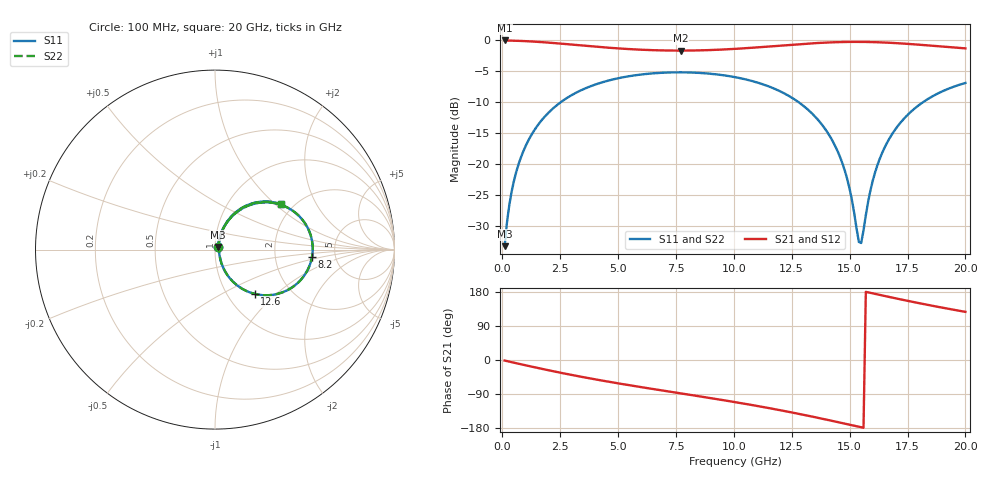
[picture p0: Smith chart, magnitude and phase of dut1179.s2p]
! Touchstone file exported from HFSS 2026.1.0
!  File:  C:/ffzhzh/LocalFiles/Ansys_Project_Files/temp_train_TSV_RDL_1179_1783315431_39728.aedt
!  Generated:  01:34:57 PM Jul  6, 2026
!  Design:  TSV_RDL
!  Project:  temp_train_TSV_RDL_1179_1783315431_39728
! Variables:
!  h_bsmrdl = 5.12um
!  h_ox = 20um
!  h_rdl = 5um
!  h_sub = 80.27um
!  h_tmrdl = 3.03um
!  h_tsv = 80.27um
!  h_via = 3um
!  l_bsmrdl = 803.77um
!  l_sub = 3863.2um
!  l_tmrdl = 231.15um
!  m_sub = 200um
!  pitch = 51.16um
!  r_tsv = 5.65um
!  s_tmrdl = 10um
!  w_bsmrdl = 23um
!  w_sub = 500um
!  w_tmrdl = 19.43um
!  x_tsv_center1 = 240.865um
!  x_tsv_center2 = 1067.635um
!  x_tsv_center3 = 1318.215um
!  x_tsv_center4 = 2144.985um
!  x_tsv_center5 = 2395.565um
!  x_tsv_center6 = 3222.335um
# GHz S MA R 50.000000
! Terminal data exported
! Port[1] = TM_RDL1_1_T1
! Port[2] = TM_RDL5_1_T1
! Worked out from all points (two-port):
!   200 points, 100 MHz to 20 GHz, reference 50 ohm
!   highest |S21| = -0.14 dB at 100 MHz (marker M1); lowest = -1.8 dB at 7.7 GHz (marker M2)
!   |S21| within 3 dB of the highest: start of sweep to end of sweep
!   lowest |S11| = -33.3 dB at 100 MHz (marker M3), VSWR 1.04, Z = 51.6 + j1.48 ohm
!   |S11| at or under -10 dB: start of sweep to 2.562 GHz; 12.76 GHz to 18.21 GHz (5.45 GHz wide, 35.2 % of centre)
!   |S22| runs from -33.3 to -5.3 dB; largest |S21 - S12| = 4e-14
!   S11 on the Smith chart (normalised r, x): 100 MHz: 1.03, +0.03; 8.2 GHz: 3.32, -0.38; 12.6 GHz: 1.33, -0.74; 20 GHz: 1.73, +1.09
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0.1  0.02155 41.7  0.9842 -1.5  0.9842 -1.5  0.02155 41.7
! Gamma 0 0 0 0
! Port Impedance 50 0 50 0
0.3  0.04595 64.1  0.9822 -4.3  0.9822 -4.3  0.04595 64.1
0.5  0.07211 68.8  0.9799 -7.0  0.9799 -7.0  0.07211 68.8
1.1  0.1502 67.5  0.9697 -15.3  0.9697 -15.3  0.1502 67.5
2.1  0.2686 57.1  0.9422 -28.4  0.9422 -28.4  0.2686 57.1
3.5  0.3978 41.4  0.8943 -45.3  0.8943 -45.3  0.3978 41.4
5.2  0.496 23.9  0.8444 -63.6  0.8444 -63.6  0.496 23.9
6.8  0.5388 8.7  0.8187 -79.4  0.8187 -79.4  0.5388 8.7
7.7  0.5445 0.3  0.8151 -88.0  0.8151 -88.0  0.5445 0.4
8.2  0.5421 -4.3  0.8165 -92.8  0.8165 -92.8  0.5421 -4.3
10.1  0.4959 -22.3  0.8428 -111.6  0.8428 -111.6  0.4959 -22.2
12.6  0.3311 -48.2  0.9118 -139.6  0.9118 -139.6  0.3311 -48.1
13.4  0.251 -56.7  0.9335 -149.6  0.9335 -149.6  0.2511 -56.6
14.1  0.1716 -63.2  0.9482 -158.7  0.9482 -158.7  0.1717 -63.1
14.6  0.1113 -65.6  0.9551 -165.3  0.9551 -165.3  0.1113 -65.5
15  0.06252 -61.6  0.958 -170.7  0.958 -170.7  0.0626 -61.4
15.4  0.0233 -15.7  0.9585 -176.1  0.9585 -176.1  0.02353 -15.5
15.5  0.02286 15.2  0.9582 -177.5  0.9582 -177.5  0.02309 15.1
16  0.0728 66.7  0.9546 175.8  0.9546 175.8  0.07288 66.5
16.7  0.1569 67.2  0.9435 166.5  0.9435 166.5  0.157 67.2
18  0.2968 55.0  0.9096 150.0  0.9096 150.0  0.2968 55.0
20  0.4468 34.3  0.8496 127.1  0.8496 127.1  0.4468 34.3
